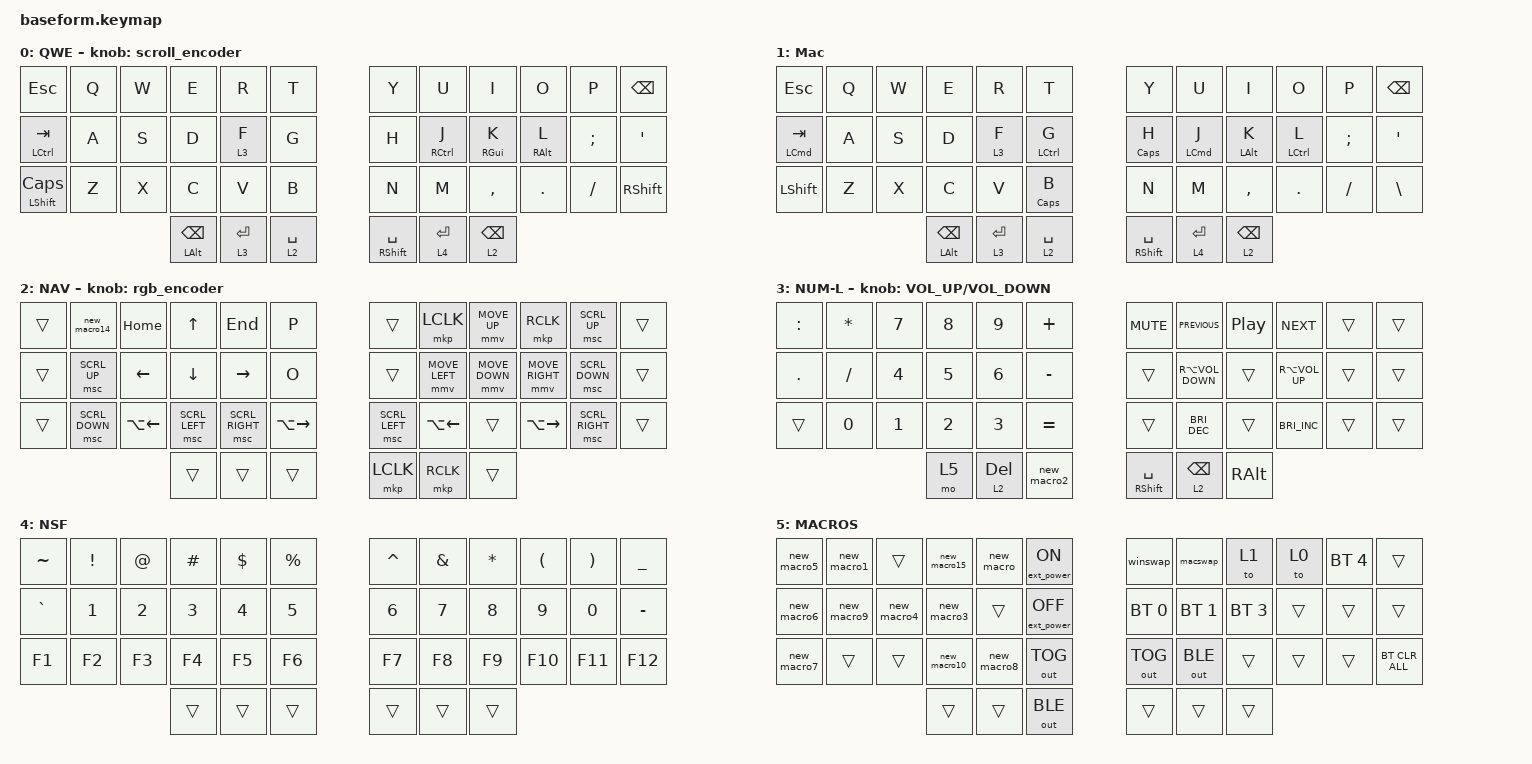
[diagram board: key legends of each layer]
#define ZMK_POINTING_DEFAULT_MOVE_VAL 1200  // 600
#define ZMK_POINTING_DEFAULT_SCRL_VAL 25   // 10

#include <input/processors.dtsi>
#include <zephyr/dt-bindings/input/input-event-codes.h>
#include <behaviors.dtsi>
#include <dt-bindings/zmk/bt.h>
#include <dt-bindings/zmk/ext_power.h>
#include <dt-bindings/zmk/keys.h>
#include <dt-bindings/zmk/outputs.h>
#include <dt-bindings/zmk/pointing.h>
#include <dt-bindings/zmk/rgb.h>

// #include <interfaces/hid-trackball.dtsi>

&soft_off { hold-time-ms = <2000>; };

&lt {
    tapping-term-ms = <150>;
    quick_tap_ms = <150>;
    quick-tap-ms = <100>;
};

&mmv_input_listener { input-processors = <&zip_xy_scaler 2 1>; };

&msc_input_listener { input-processors = <&zip_scroll_scaler 2 1>; };

&msc {
    acceleration-exponent = <1>;      // 0
    time-to-max-speed-ms = <100>;       // 300
    delay-ms = <0>;                   // 0
};

&mmv {
    time-to-max-speed-ms = <500>;
    acceleration-exponent = <1>;
    trigger-period-ms = <16>;
};

/ {
    behaviors {
        hmr: hmr {
            compatible = "zmk,behavior-hold-tap";
            label = "HOLD_TAP_TUNED";
            #binding-cells = <2>;
            tapping-term-ms = <170>;
            flavor = "tap-preferred";
            bindings = <&kp>, <&kp>;

            quick-tap-ms = <125>;
            require-prior-idle-ms = <200>;
            hold-trigger-key-positions = <0 3 2 1 4 5 13 12 14 15 17 16 29 28 26 27 25 24>;
        };

        hml: hml {
            compatible = "zmk,behavior-hold-tap";
            label = "HML";
            #binding-cells = <2>;
            tapping-term-ms = <170>;
            flavor = "tap-preferred";
            bindings = <&kp>, <&kp>;

            quick-tap-ms = <125>;
            require-prior-idle-ms = <200>;
            hold-trigger-key-positions = <6 7 8 9 10 11 18 19 20 21 22 23 35 34 33 32 31 30>;
        };

        capsword: capsword {
            compatible = "zmk,behavior-caps-word";
            label = "CAPSWORD";
            #binding-cells = <0>;
            continue-list = <UNDERSCORE BACKSPACE DELETE>;
        };
    };

    rgb_encoder: rgb_encoder {
        compatible = "zmk,behavior-sensor-rotate";
        #sensor-binding-cells = <0>;
        bindings = <&rgb_ug RGB_BRI>, <&rgb_ug RGB_BRD>;
    };

    scroll_encoder: scroll_encoder {
        compatible = "zmk,behavior-sensor-rotate";
        #sensor-binding-cells = <0>;
        bindings = <&msc SCRL_DOWN>, <&msc SCRL_UP>;

        tap-ms = <100>;
    };

    combos {
        compatible = "zmk,combos";

        redo {
            bindings = <&kp LC(Y)>;
            key-positions = <29 24>;
            require-prior-idle-ms = <75>;
        };

        ctrltab {
            bindings = <&kp LC(TAB)>;
            require-prior-idle-ms = <75>;
            key-positions = <2 1>;
        };

        ctrshtab {
            bindings = <&kp LC(LS(TAB))>;
            require-prior-idle-ms = <75>;
            key-positions = <1 2 3>;
        };

        left_monitor {
            bindings = <&kp LG(LS(LEFT))>;
            key-positions = <13 14 15>;
            require-prior-idle-ms = <75>;
        };

        right_monitor {
            bindings = <&kp LG(LS(RIGHT))>;
            key-positions = <16 17>;
            require-prior-idle-ms = <75>;
        };

        gui_up {
            bindings = <&kp LG(UP_ARROW)>;
            key-positions = <2 3>;
            require-prior-idle-ms = <75>;
        };

        gui_down {
            bindings = <&kp LG(DOWN)>;
            key-positions = <15 16>;
            require-prior-idle-ms = <75>;
        };

        gui_left {
            bindings = <&kp LG(LEFT_ARROW)>;
            key-positions = <15 14>;
            require-prior-idle-ms = <75>;
        };

        gui_right {
            bindings = <&kp LG(RIGHT)>;
            key-positions = <17 16 15>;
            require-prior-idle-ms = <75>;
        };

        snipping_tool {
            bindings = <&kp LG(LS(S))>;
            key-positions = <16 1>;
            require-prior-idle-ms = <75>;
        };

        notifications {
            bindings = <&kp LG(N)>;
            key-positions = <16 12>;
            require-prior-idle-ms = <75>;
        };

        Markasread {
            bindings = <&kp LC(Q)>;
            key-positions = <4 16>;
            require-prior-idle-ms = <75>;
        };

        ALTF4 {
            bindings = <&kp LA(F4)>;
            key-positions = <2 16>;
            require-prior-idle-ms = <75>;
        };

        lock {
            bindings = <&kp LG(L)>;
            key-positions = <23 11>;
            require-prior-idle-ms = <75>;
        };

        delete {
            bindings = <&kp DELETE>;
            key-positions = <11 10>;
        };

        lbracket {
            bindings = <&kp LEFT_BRACKET>;
            key-positions = <20 21>;
            layers = <0>;
        };

        rbracket {
            bindings = <&kp RIGHT_BRACKET>;
            key-positions = <21 22>;
            layers = <0>;
        };

        Copy {
            bindings = <&kp LC(C)>;
            key-positions = <26 27>;
        };

        paste {
            bindings = <&kp LC(V)>;
            key-positions = <27 28>;
        };

        cut {
            bindings = <&kp LC(X)>;
            key-positions = <25 26>;
        };

        ctrlshiftv {
            bindings = <&kp LC(LS(V))>;
            key-positions = <27 28 29>;
        };

        winv {
            bindings = <&kp LG(V)>;
            key-positions = <38 28>;
        };

        softoff {
            bindings = <&soft_off>;
            key-positions = <0 11>;
        };

        gui {
            bindings = <&kp RGUI>;
            key-positions = <37 38>;
        };

        capsword {
            bindings = <&caps_word>;
            key-positions = <38 39>;
        };

        leftsheet {
            bindings = <&kp LC(PAGE_UP)>;
            key-positions = <0 2>;
        };

        rightsheet {
            bindings = <&kp LC(PAGE_DOWN)>;
            key-positions = <3 5>;
        };

        leftdelete {
            bindings = <&kp DELETE>;
            key-positions = <0 38>;
        };

        backwardslash {
            bindings = <&kp BACKSLASH>;
            key-positions = <34 35>;
        };

        undo {
            bindings = <&kp LC(Z)>;
            key-positions = <24 25>;
            require-prior-idle-ms = <75>;
        };

        addborder {
            bindings = <&kp LC(LS(AMPERSAND))>;
            key-positions = <7 8>;
            layers = <2>;
        };

        deleteborder {
            bindings = <&kp LC(LS(UNDERSCORE))>;
            key-positions = <20 19>;
            layers = <2>;
        };

        insertcell {
            bindings = <&kp LC(PLUS)>;
            key-positions = <6 8>;
            layers = <2>;
        };

        deletecell {
            bindings = <&kp LC(MINUS)>;
            key-positions = <18 20>;
            layers = <2>;
        };

        togglemacwin {
            bindings = <&mo 1>;
            key-positions = <30 35>;
        };

        switchapps {
            bindings = <&switch_apps>;
            key-positions = <18 0>;
            layers = <1>;
        };

        maccopy {
            bindings = <&kp LG(C)>;
            key-positions = <26 27>;
            layers = <1>;
        };

        macpaste {
            bindings = <&kp LG(V)>;
            key-positions = <27 28>;
            layers = <1>;
        };

        macsc {
            bindings = <&ipadscreenshot>;
            key-positions = <16 1>;
            layers = <1>;
        };
    };

    macros {
        new_macro: new_macro {
            compatible = "zmk,behavior-macro";
            #binding-cells = <0>;
            bindings = <&none &kp LS(F) &kp O &kp R &kp SPACE &kp LS(R) &kp LS(O) &kp SPACE &kp I &kp S &kp S &kp U &kp A &kp N &kp C &kp E &kp SPACE &kp P &kp L &kp E &kp A &kp S &kp E &kp COMMA &kp SPACE &kp K &kp I &kp N &kp D &kp L &kp Y &kp SPACE &kp R &kp E &kp F &kp E &kp R &kp SPACE &kp T &kp O &kp SPACE &kp T &kp H &kp E &kp SPACE &kp L &kp I &kp S &kp T &kp SPACE &kp O &kp F &kp SPACE &kp R &kp E &kp Q &kp U &kp I &kp R &kp E &kp D &kp SPACE &kp M &kp A &kp T &kp E &kp R &kp I &kp A &kp L &kp S &kp SPACE &kp P &kp R &kp O &kp V &kp I &kp D &kp E &kp D &kp SPACE &kp B &kp E &kp L &kp O &kp W &kp COMMA>;
            label = "ForRO";
        };

        new_macro14: new_macro14 {
            compatible = "zmk,behavior-macro";
            #binding-cells = <0>;
            bindings = <&none &kp LS(S) &kp P &kp E &kp C &kp I &kp A &kp L>;
            label = "Special";
        };

        new_macro15: new_macro15 {
            compatible = "zmk,behavior-macro";
            #binding-cells = <0>;
            bindings = <&none &kp LS(F) &kp O &kp R &kp SPACE &kp A &kp L &kp L &kp O &kp C &kp A &kp T &kp I &kp O &kp N &kp SPACE &kp O &kp F &kp SPACE &kp N &kp E &kp E &kp D &kp E &kp D &kp SPACE &kp M &kp A &kp T &kp E &kp R &kp I &kp A &kp L &kp S &kp SPACE &kp B &kp E &kp L &kp O &kp W &kp COMMA &kp SPACE &kp P &kp L &kp E &kp A &kp S &kp E &kp DOT>;
            label = "Matsallocation";
        };

        new_macro1: new_macro1 {
            compatible = "zmk,behavior-macro";
            #binding-cells = <0>;
            bindings = <&none &kp LS(F) &kp O &kp R &kp SPACE &kp Y &kp O &kp U &kp R &kp SPACE &kp K &kp I &kp N &kp D &kp SPACE &kp A &kp S &kp S &kp I &kp S &kp T &kp A &kp N &kp C &kp E &kp COMMA &kp SPACE &kp P &kp L &kp E &kp A &kp S &kp E &kp DOT &kp SPACE &kp LS(W) &kp E &kp SPACE &kp H &kp E &kp R &kp E &kp B &kp Y &kp SPACE &kp E &kp N &kp D &kp O &kp R &kp S &kp E &kp SPACE &kp T &kp H &kp I &kp S &kp SPACE &kp P &kp R &kp O &kp J &kp E &kp C &kp T &kp SPACE &kp F &kp O &kp R &kp SPACE &kp LC(B) &kp E &kp N &kp D &kp MINUS &kp T &kp O &kp MINUS &kp E &kp N &kp D &kp SPACE &kp I &kp M &kp P &kp L &kp E &kp M &kp E &kp N &kp T &kp A &kp T &kp I &kp O &kp N &kp LC(B) &kp DOT &kp SPACE &kp LS(T) &kp H &kp A &kp N &kp K &kp SPACE &kp Y &kp O &kp U &kp DOT>;
            label = "endorsetobp";
        };

        new_macro2: new_macro2 {
            compatible = "zmk,behavior-macro";
            #binding-cells = <0>;
            bindings = <&kp LC(F) &kp LS(R) &kp LS(E) &kp LS(F)>;
            label = "FTSref";
        };

        new_macro3: new_macro3 {
            compatible = "zmk,behavior-macro";
            #binding-cells = <0>;
            bindings = <&none &kp LS(A) &kp C &kp K &kp N &kp O &kp W &kp L &kp E &kp D &kp G &kp E &kp D &kp DOT &kp SPACE &kp LS(P) &kp L &kp E &kp A &kp S &kp E &kp SPACE &kp S &kp E &kp E &kp SPACE &kp A &kp T &kp T &kp E &kp N &kp D &kp I &kp N &kp G &kp SPACE &kp LS(F) &kp LS(R) &kp SPACE &kp B &kp E &kp L &kp O &kp W &kp DOT &kp SPACE &kp LS(T) &kp H &kp A &kp N &kp K &kp SPACE &kp Y &kp O &kp U &kp DOT>;
            label = "attendingFR";
        };

        new_macro4: new_macro4 {
            compatible = "zmk,behavior-macro";
            #binding-cells = <0>;
            bindings = <&none &kp LS(A) &kp C &kp K &kp N &kp O &kp W &kp L &kp E &kp D &kp G &kp E &kp D &kp DOT &kp SPACE &kp LS(P) &kp L &kp E &kp A &kp S &kp E &kp SPACE &kp R &kp E &kp F &kp E &kp R &kp SPACE &kp T &kp O &kp SPACE &kp T &kp H &kp E &kp SPACE &kp A &kp T &kp T &kp A &kp C &kp H &kp E &kp D &kp SPACE &kp L &kp I &kp S &kp T &kp SPACE &kp O &kp F &kp SPACE &kp LS(F) &kp LS(R) &kp S &kp SPACE &kp F &kp O &kp R &kp SPACE &kp P &kp R &kp O &kp C &kp E &kp S &kp S &kp I &kp N &kp G &kp SPACE &kp O &kp F &kp SPACE &kp W &kp O &kp R &kp K &kp I &kp N &kp G &kp SPACE &kp P &kp E &kp R &kp M &kp I &kp T &kp DOT &kp SPACE &kp LS(T) &kp H &kp A &kp N &kp K &kp SPACE &kp Y &kp O &kp U &kp DOT>;
            label = "NEW_MACRO4";
        };

        new_macro5: new_macro5 {
            compatible = "zmk,behavior-macro";
            #binding-cells = <0>;
            bindings = <&none &kp N1 &kp X &kp SPACE &kp LS(O) &kp LS(N) &kp LS(U) &kp SPACE &kp M &kp O &kp D &kp E &kp M &kp RET &kp N1 &kp X &kp SPACE &kp LS(T) &kp E &kp L &kp S &kp E &kp T &kp SPACE &kp RET &kp N1 &kp X &kp SPACE &kp LS(I) &kp LS(O) &kp LS(O) &kp RET &kp N1 &kp X &kp SPACE &kp LS(S) &kp LS(C) &kp MINUS &kp LS(S) &kp LS(C) &kp SPACE &kp P &kp A &kp T &kp C &kp H &kp C &kp O &kp R &kp D &kp RET &kp N1 &kp X &kp SPACE &kp LS(L) &kp LS(C) &kp MINUS &kp LS(S) &kp LS(C) &kp SPACE &kp P &kp A &kp T &kp C &kp H &kp C &kp O &kp R &kp D &kp RET &kp N4 &kp X &kp SPACE &kp LS(S) &kp LS(C) &kp SPACE &kp C &kp O &kp N &kp N &kp E &kp C &kp T &kp O &kp R>;
            label = "SMFTTX";
        };

        new_macro6: new_macro6 {
            compatible = "zmk,behavior-macro";
            #binding-cells = <0>;
            bindings = <&none &kp N1 &kp X &kp SPACE &kp LS(O) &kp LS(N) &kp LS(U) &kp SPACE &kp M &kp O &kp D &kp E &kp M &kp RET &kp N1 &kp X &kp SPACE &kp LS(T) &kp E &kp L &kp S &kp E &kp T &kp SPACE &kp RET &kp N1 &kp X &kp SPACE &kp LS(I) &kp LS(O) &kp LS(O) &kp RET &kp N1 &kp X &kp SPACE &kp LS(S) &kp LS(C) &kp MINUS &kp LS(S) &kp LS(C) &kp SPACE &kp P &kp A &kp T &kp C &kp H &kp SPACE &kp C &kp O &kp R &kp D &kp SPACE &kp RET &kp N4 &kp X &kp SPACE &kp LS(S) &kp LS(C) &kp SPACE &kp C &kp O &kp N &kp N &kp E &kp C &kp T &kp O &kp R &kp RET>;
            label = "FTTXbundle";
        };

        new_macro7: new_macro7 {
            compatible = "zmk,behavior-macro";
            #binding-cells = <0>;
            bindings = <&kp N1 &kp X &kp SPACE &kp P &kp R &kp O &kp L &kp I &kp N &kp K &kp SPACE &kp M &kp O &kp D &kp E &kp M &kp RET &kp N1 &kp X &kp SPACE &kp T &kp E &kp L &kp S &kp E &kp T &kp RET &kp N1 &kp X &kp SPACE &kp LS(C) &kp LS(B) &kp LS(K)>;
            label = "copperbundle";
        };

        new_macro8: new_macro8 {
            compatible = "zmk,behavior-macro";
            #binding-cells = <0>;
            bindings = <&none &kp LS(M) &kp A &kp K &kp E &kp SPACE &kp F &kp O &kp R &kp M &kp A &kp L &kp COMMA &kp SPACE &kp P &kp O &kp L &kp I &kp S &kp H &kp COMMA &kp SPACE &kp S &kp L &kp I &kp G &kp H &kp T &kp L &kp Y &kp SPACE &kp P &kp O &kp L &kp I &kp T &kp E &kp RET>;
            label = "Makeformal concise";
        };

        new_macro9: new_macro9 {
            compatible = "zmk,behavior-macro";
            #binding-cells = <0>;
            bindings = <&none &kp LS(A) &kp C &kp K &kp N &kp O &kp W &kp L &kp E &kp D &kp G &kp E &kp D &kp DOT &kp SPACE &kp LS(W) &kp E &kp SPACE &kp W &kp I &kp L &kp L &kp SPACE &kp P &kp R &kp O &kp C &kp E &kp E &kp D &kp SPACE &kp W &kp I &kp T &kp H &kp SPACE &kp S &kp C &kp H &kp E &kp D &kp U &kp L &kp I &kp N &kp G &kp SPACE &kp T &kp H &kp E &kp SPACE &kp D &kp I &kp S &kp P &kp A &kp T &kp C &kp H &kp SPACE &kp O &kp N &kp C &kp E &kp SPACE &kp A &kp N &kp SPACE &kp LS(F) &kp LS(R) &kp SPACE &kp B &kp E &kp C &kp O &kp M &kp E &kp S &kp SPACE &kp A &kp V &kp A &kp I &kp L &kp A &kp B &kp L &kp E &kp DOT &kp SPACE &kp LS(T) &kp H &kp A &kp N &kp K &kp SPACE &kp Y &kp O &kp U &kp DOT &kp SPACE &kp RET>;
            label = "NEW_MACRO9";
        };

        new_macro10: new_macro10 {
            compatible = "zmk,behavior-macro";
            #binding-cells = <0>;
            bindings = <&none &kp LS(S) &kp H &kp A &kp R &kp I &kp N &kp G &kp SPACE &kp R &kp E &kp M &kp A &kp R &kp K &kp S &kp SPACE &kp F &kp R &kp O &kp M &kp SPACE &kp LS(F) &kp LS(R) &kp SPACE &kp B &kp E &kp L &kp O &kp W &kp DOT &kp RET &kp RET &kp LS(A) &kp C &kp T &kp I &kp O &kp N &kp SPACE &kp T &kp A &kp K &kp E &kp N &kp COLON &kp RET &kp RET &kp LS(M) &kp A &kp T &kp E &kp R &kp I &kp A &kp L &kp S &kp SPACE &kp U &kp S &kp E &kp D &kp COLON &kp RET &kp RET &kp LS(F) &kp A &kp C &kp I &kp L &kp I &kp T &kp Y &kp SPACE &kp U &kp S &kp E &kp D &kp COLON &kp RET &kp RET &kp LS(A) &kp S &kp S &kp I &kp G &kp N &kp E &kp D &kp SPACE &kp LS(F) &kp LS(R) &kp COLON &kp RET &kp RET &kp RET>;
            label = "NEW_MACRO10";
        };

        switch_apps: switch_apps {
            compatible = "zmk,behavior-macro";
            #binding-cells = <0>;
            bindings = <&kp CAPS>, <&macro_press>, <&kp TILDE>;

            label = "SWITCH_APPS";
        };

        ipadscreenshot: ipadscreenshot {
            compatible = "zmk,behavior-macro";
            #binding-cells = <0>;
            bindings = <&kp LG(LS(NUMBER_3))>;
            label = "IPADSCREENSHOT";
        };

        macswap: macswap {
            compatible = "zmk,behavior-macro";
            #binding-cells = <0>;
            bindings = <&out OUT_BLE &to 1>;
            label = "MACSWAP";
        };

        winswap: winswap {
            compatible = "zmk,behavior-macro";
            #binding-cells = <0>;
            bindings = <&out OUT_USB &to 0>;
            label = "WINSWAP";
        };
    };

    keymap {
        compatible = "zmk,keymap";

        Base {
            display-name = " QWE";
            bindings = <
&kp ESCAPE           &kp Q  &kp W  &kp E                   &kp R        &kp T                  &kp Y                  &kp U                 &kp I             &kp O             &kp P     &kp BACKSPACE
&mt LCTRL TAB        &kp A  &kp S  &kp D                   &lt 3 F      &kp G                  &kp H                  &hml RIGHT_CONTROL J  &hml RIGHT_GUI K  &hml RIGHT_ALT L  &kp SEMI  &kp SQT
&mt LEFT_SHIFT CAPS  &kp Z  &kp X  &kp C                   &kp V        &kp B                  &kp N                  &kp M                 &kp COMMA         &kp DOT           &kp FSLH  &kp RIGHT_SHIFT
                                   &mt LEFT_ALT BACKSPACE  &lt 3 ENTER  &lt 2 SPACE            &mt RIGHT_SHIFT SPACE  &lt 4 ENTER           &lt 2 BACKSPACE
            >;

            sensor-bindings = <&scroll_encoder>;
        };

        Mac {
            bindings = <
&kp ESCAPE            &kp Q  &kp W  &kp E                   &kp R        &kp T                         &kp Y                  &kp U                &kp I            &kp O                &kp P     &kp BSPC
&mt LEFT_COMMAND TAB  &kp A  &kp S  &kp D                   &lt 3 F      &mt LEFT_CONTROL G            &hml CAPSLOCK H        &hml LEFT_COMMAND J  &hml LEFT_ALT K  &hml LEFT_CONTROL L  &kp SEMI  &kp SQT
&kp LSHFT             &kp Z  &kp X  &kp C                   &kp V        &mt CAPSLOCK B                &kp N                  &kp M                &kp COMMA        &kp DOT              &kp FSLH  &kp BSLH
                                    &mt LEFT_ALT BACKSPACE  &lt 3 ENTER  &lt 2 SPACE                   &mt RIGHT_SHIFT SPACE  &lt 4 ENTER          &lt 2 BACKSPACE
            >;

            label = "Mac";
        };

        NAV {
            bindings = <
&trans  &new_macro14    &kp HOME            &kp UP_ARROW    &kp END          &kp P                          &trans          &mkp LCLK           &mmv MOVE_UP    &mkp RCLK            &msc SCRL_UP     &trans
&trans  &msc SCRL_UP    &kp LEFT            &kp DOWN        &kp RIGHT        &kp O                          &trans          &mmv MOVE_LEFT      &mmv MOVE_DOWN  &mmv MOVE_RIGHT      &msc SCRL_DOWN   &trans
&trans  &msc SCRL_DOWN  &kp LA(LEFT_ARROW)  &msc SCRL_LEFT  &msc SCRL_RIGHT  &kp LA(RIGHT_ARROW)            &msc SCRL_LEFT  &kp LA(LEFT_ARROW)  &trans          &kp LA(RIGHT_ARROW)  &msc SCRL_RIGHT  &trans
                                            &trans          &trans           &trans                         &mkp LCLK       &mkp RCLK           &trans
            >;

            sensor-bindings = <&rgb_encoder>;
            label = "NAV";
        };

        NUM_L {
            display-name = "NUM-L";
            bindings = <
&kp COLON  &kp ASTERISK  &kp N7  &kp N8  &kp N9        &kp PLUS               &kp C_MUTE             &kp C_PREVIOUS         &kp C_PLAY_PAUSE  &kp C_NEXT            &trans  &trans
&kp DOT    &kp SLASH     &kp N4  &kp N5  &kp N6        &kp MINUS              &trans                 &kp RA(C_VOLUME_DOWN)  &trans            &kp RA(C_VOLUME_UP)   &trans  &trans
&trans     &kp NUMBER_0  &kp N1  &kp N2  &kp N3        &kp EQUAL              &trans                 &kp C_BRIGHTNESS_DEC   &trans            &kp C_BRIGHTNESS_INC  &trans  &trans
                                 &mo 5   &lt 2 DELETE  &new_macro2            &mt RIGHT_SHIFT SPACE  &lt 2 BACKSPACE        &kp RIGHT_ALT
            >;

            sensor-bindings = <&inc_dec_kp C_VOLUME_UP C_VOLUME_DOWN>;
            label = "num_left";
        };

        NSF {
            bindings = <
&kp TILDE  &kp EXCLAMATION  &kp AT_SIGN  &kp HASH  &kp DOLLAR  &kp PERCENT            &kp CARET  &kp AMPERSAND  &kp ASTERISK  &kp LEFT_PARENTHESIS  &kp RIGHT_PARENTHESIS  &kp UNDERSCORE
&kp GRAVE  &kp N1           &kp N2       &kp N3    &kp N4      &kp N5                 &kp N6     &kp N7         &kp N8        &kp N9                &kp N0                 &kp MINUS
&kp F1     &kp F2           &kp F3       &kp F4    &kp F5      &kp F6                 &kp F7     &kp F8         &kp F9        &kp F10               &kp F11                &kp F12
                                         &trans    &trans      &trans                 &trans     &trans         &trans
            >;

            label = "NSF";
        };

        Macros {
            bindings = <
&new_macro5  &new_macro1  &trans       &new_macro15  &new_macro   &ext_power EP_ON             &winswap      &macswap      &to 1         &to 0   &bt BT_SEL 4  &trans
&new_macro6  &new_macro9  &new_macro4  &new_macro3   &trans       &ext_power EP_OFF            &bt BT_SEL 0  &bt BT_SEL 1  &bt BT_SEL 3  &trans  &trans        &trans
&new_macro7  &trans       &trans       &new_macro10  &new_macro8  &out OUT_TOG                 &out OUT_TOG  &out OUT_BLE  &trans        &trans  &trans        &bt BT_CLR_ALL
                                       &trans        &trans       &out OUT_BLE                 &trans        &trans        &trans
            >;

            label = "MACROS";
        };
    };
};
